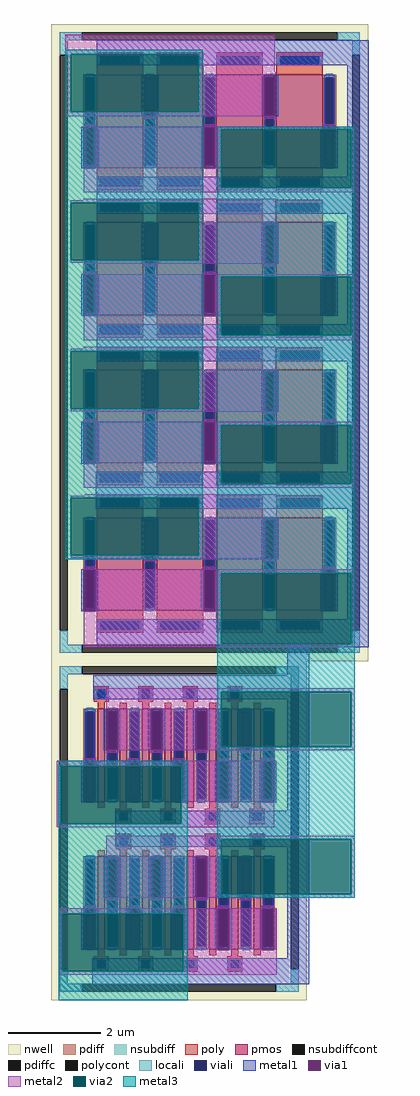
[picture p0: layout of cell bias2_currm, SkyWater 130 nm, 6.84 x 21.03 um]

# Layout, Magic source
magic
tech sky130A
magscale 1 2
<< metal1 >>
rect 236 2408 1408 2516
rect 430 2188 440 2368
rect 492 2188 502 2368
rect 946 2188 956 2368
rect 1008 2188 1018 2368
rect 170 1964 180 2144
rect 232 1964 242 2144
rect 686 1964 696 2144
rect 748 1964 758 2144
rect 1202 1964 1212 2144
rect 1264 1964 1274 2144
rect 1316 1928 1408 2408
rect 236 1768 1408 1928
rect 430 1552 440 1732
rect 492 1552 502 1732
rect 946 1552 956 1732
rect 1008 1552 1018 1732
rect 170 1328 180 1508
rect 232 1328 242 1508
rect 686 1328 696 1508
rect 748 1328 758 1508
rect 1202 1328 1212 1508
rect 1264 1328 1274 1508
rect 1316 1292 1408 1768
rect 236 1132 1408 1292
rect 430 916 440 1096
rect 492 916 502 1096
rect 946 916 956 1096
rect 1008 916 1018 1096
rect 170 692 180 872
rect 232 692 242 872
rect 686 692 696 872
rect 748 692 758 872
rect 1202 692 1212 872
rect 1264 692 1274 872
rect 1316 656 1408 1132
rect 232 496 1408 656
rect 430 280 440 460
rect 492 280 502 460
rect 946 280 956 460
rect 1008 280 1018 460
rect 170 56 180 236
rect 232 56 242 236
rect 686 56 696 236
rect 748 56 758 236
rect 1202 56 1212 236
rect 1264 56 1274 236
rect 1316 20 1408 496
rect 236 -88 1408 20
rect 1056 -220 1152 -88
rect 1316 -100 1408 -88
rect 220 -324 1152 -220
rect 266 -544 276 -364
rect 328 -544 338 -364
rect 458 -544 468 -364
rect 520 -544 530 -364
rect 650 -544 660 -364
rect 712 -544 722 -364
rect 842 -544 852 -364
rect 904 -544 914 -364
rect 170 -768 180 -588
rect 232 -768 242 -588
rect 362 -768 372 -588
rect 424 -768 434 -588
rect 554 -768 564 -588
rect 616 -768 626 -588
rect 746 -768 756 -588
rect 808 -768 818 -588
rect 938 -768 948 -588
rect 1000 -768 1010 -588
rect 1056 -804 1152 -324
rect 316 -960 1152 -804
rect 266 -1180 276 -1000
rect 328 -1180 338 -1000
rect 458 -1180 468 -1000
rect 520 -1180 530 -1000
rect 650 -1180 660 -1000
rect 712 -1180 722 -1000
rect 842 -1180 852 -1000
rect 904 -1180 914 -1000
rect 170 -1404 180 -1224
rect 232 -1404 242 -1224
rect 362 -1404 372 -1224
rect 424 -1404 434 -1224
rect 554 -1404 564 -1224
rect 616 -1404 626 -1224
rect 746 -1404 756 -1224
rect 808 -1404 818 -1224
rect 938 -1404 948 -1224
rect 1000 -1404 1010 -1224
rect 1056 -1440 1152 -960
rect 216 -1552 1152 -1440
<< via1 >>
rect 440 2188 492 2368
rect 956 2188 1008 2368
rect 180 1964 232 2144
rect 696 1964 748 2144
rect 1212 1964 1264 2144
rect 440 1552 492 1732
rect 956 1552 1008 1732
rect 180 1328 232 1508
rect 696 1328 748 1508
rect 1212 1328 1264 1508
rect 440 916 492 1096
rect 956 916 1008 1096
rect 180 692 232 872
rect 696 692 748 872
rect 1212 692 1264 872
rect 440 280 492 460
rect 956 280 1008 460
rect 180 56 232 236
rect 696 56 748 236
rect 1212 56 1264 236
rect 276 -544 328 -364
rect 468 -544 520 -364
rect 660 -544 712 -364
rect 852 -544 904 -364
rect 180 -768 232 -588
rect 372 -768 424 -588
rect 564 -768 616 -588
rect 756 -768 808 -588
rect 948 -768 1000 -588
rect 276 -1180 328 -1000
rect 468 -1180 520 -1000
rect 660 -1180 712 -1000
rect 852 -1180 904 -1000
rect 180 -1404 232 -1224
rect 372 -1404 424 -1224
rect 564 -1404 616 -1224
rect 756 -1404 808 -1224
rect 948 -1404 1000 -1224
<< metal2 >>
rect 100 2456 1004 2540
rect 100 2208 124 2456
rect 676 2378 1004 2456
rect 676 2368 1008 2378
rect 676 2208 956 2368
rect 100 2188 440 2208
rect 492 2188 956 2208
rect 440 2178 492 2188
rect 956 2178 1008 2188
rect 180 2144 232 2154
rect 696 2144 748 2154
rect 1212 2144 1264 2154
rect 232 1964 696 2144
rect 748 2132 1212 2144
rect 1264 2132 1344 2144
rect 748 1964 772 2132
rect 180 1880 772 1964
rect 1332 1880 1344 2132
rect 180 1860 1344 1880
rect 180 1826 1008 1832
rect 124 1816 1008 1826
rect 676 1732 1008 1816
rect 676 1568 956 1732
rect 124 1558 440 1568
rect 180 1552 440 1558
rect 492 1552 956 1568
rect 440 1542 492 1552
rect 956 1542 1008 1552
rect 180 1508 232 1518
rect 696 1508 748 1518
rect 1212 1508 1264 1518
rect 232 1328 696 1508
rect 748 1496 1212 1508
rect 1264 1496 1344 1508
rect 748 1328 772 1496
rect 180 1244 772 1328
rect 1332 1244 1344 1496
rect 180 1224 1344 1244
rect 180 1186 1008 1196
rect 124 1176 1008 1186
rect 676 1096 1008 1176
rect 676 928 956 1096
rect 124 918 440 928
rect 180 916 440 918
rect 492 916 956 928
rect 440 906 492 916
rect 956 906 1008 916
rect 180 872 232 882
rect 696 872 748 882
rect 1212 872 1264 882
rect 232 692 696 872
rect 748 856 1212 872
rect 1264 856 1344 872
rect 748 692 772 856
rect 180 604 772 692
rect 1332 604 1344 856
rect 180 588 1344 604
rect 184 554 1012 560
rect 124 544 1012 554
rect 676 460 1012 544
rect 676 296 956 460
rect 124 286 440 296
rect 184 280 440 286
rect 492 280 956 296
rect 1008 280 1012 460
rect 440 270 492 280
rect 956 270 1008 280
rect 180 236 232 246
rect 696 236 748 246
rect 1212 236 1264 246
rect 232 56 696 236
rect 748 220 1212 236
rect 1264 220 1348 236
rect 748 56 772 220
rect 180 -84 772 56
rect 1332 -84 1348 220
rect 180 -100 1348 -84
rect 276 -292 1348 -276
rect 276 -364 772 -292
rect 328 -544 468 -364
rect 520 -544 660 -364
rect 712 -528 772 -364
rect 1332 -528 1348 -292
rect 712 -544 852 -528
rect 904 -544 1348 -528
rect 276 -554 328 -544
rect 468 -554 520 -544
rect 660 -554 712 -544
rect 852 -554 904 -544
rect 180 -588 232 -578
rect 372 -588 424 -578
rect 564 -588 616 -578
rect 756 -588 808 -578
rect 948 -588 1000 -578
rect 64 -612 180 -588
rect 232 -612 372 -588
rect 424 -612 564 -588
rect 64 -860 80 -612
rect 616 -768 756 -588
rect 808 -768 948 -588
rect 600 -860 1000 -768
rect 64 -876 1000 -860
rect 276 -928 1348 -912
rect 276 -1000 772 -928
rect 328 -1180 468 -1000
rect 520 -1180 660 -1000
rect 712 -1164 772 -1000
rect 1332 -1164 1348 -928
rect 712 -1180 852 -1164
rect 904 -1180 1348 -1164
rect 276 -1190 328 -1180
rect 468 -1190 520 -1180
rect 660 -1190 712 -1180
rect 852 -1190 904 -1180
rect 180 -1224 232 -1214
rect 372 -1224 424 -1214
rect 564 -1224 616 -1214
rect 756 -1224 808 -1214
rect 948 -1224 1000 -1214
rect 76 -1248 180 -1224
rect 232 -1248 372 -1224
rect 424 -1248 564 -1224
rect 76 -1496 88 -1248
rect 616 -1404 756 -1224
rect 808 -1404 948 -1224
rect 1000 -1404 1012 -1224
rect 608 -1496 1012 -1404
rect 76 -1512 1012 -1496
<< via2 >>
rect 124 2368 676 2456
rect 124 2208 440 2368
rect 440 2208 492 2368
rect 492 2208 676 2368
rect 772 1964 1212 2132
rect 1212 1964 1264 2132
rect 1264 1964 1332 2132
rect 772 1880 1332 1964
rect 124 1732 676 1816
rect 124 1568 440 1732
rect 440 1568 492 1732
rect 492 1568 676 1732
rect 772 1328 1212 1496
rect 1212 1328 1264 1496
rect 1264 1328 1332 1496
rect 772 1244 1332 1328
rect 124 1096 676 1176
rect 124 928 440 1096
rect 440 928 492 1096
rect 492 928 676 1096
rect 772 692 1212 856
rect 1212 692 1264 856
rect 1264 692 1332 856
rect 772 604 1332 692
rect 124 460 676 544
rect 124 296 440 460
rect 440 296 492 460
rect 492 296 676 460
rect 772 56 1212 220
rect 1212 56 1264 220
rect 1264 56 1332 220
rect 772 -84 1332 56
rect 772 -364 1332 -292
rect 772 -528 852 -364
rect 852 -528 904 -364
rect 904 -528 1332 -364
rect 80 -768 180 -612
rect 180 -768 232 -612
rect 232 -768 372 -612
rect 372 -768 424 -612
rect 424 -768 564 -612
rect 564 -768 600 -612
rect 80 -860 600 -768
rect 772 -1000 1332 -928
rect 772 -1164 852 -1000
rect 852 -1164 904 -1000
rect 904 -1164 1332 -1000
rect 88 -1404 180 -1248
rect 180 -1404 232 -1248
rect 232 -1404 372 -1248
rect 372 -1404 424 -1248
rect 424 -1404 564 -1248
rect 564 -1404 608 -1248
rect 88 -1496 608 -1404
<< metal3 >>
rect 100 2456 692 2476
rect 100 2208 124 2456
rect 676 2208 692 2456
rect 100 1816 692 2208
rect 100 1568 124 1816
rect 676 1568 692 1816
rect 100 1176 692 1568
rect 100 928 124 1176
rect 676 928 692 1176
rect 100 544 692 928
rect 100 296 124 544
rect 676 296 692 544
rect 100 280 692 296
rect 756 2132 1348 2144
rect 756 1880 772 2132
rect 1332 1880 1348 2132
rect 756 1496 1348 1880
rect 756 1244 772 1496
rect 1332 1244 1348 1496
rect 756 856 1348 1244
rect 756 604 772 856
rect 1332 604 1348 856
rect 756 220 1348 604
rect 756 -84 772 220
rect 1332 -84 1348 220
rect 756 -292 1348 -84
rect 756 -528 772 -292
rect 1332 -528 1348 -292
rect 72 -607 628 -588
rect 70 -612 628 -607
rect 70 -860 80 -612
rect 600 -860 628 -612
rect 70 -865 628 -860
rect 72 -1248 628 -865
rect 756 -928 1348 -528
rect 756 -1164 772 -928
rect 1332 -1164 1348 -928
rect 756 -1180 1348 -1164
rect 72 -1496 88 -1248
rect 608 -1496 628 -1248
rect 72 -1620 628 -1496
use sky130_fd_pr__pfet_01v8_LXX5YL  sky130_fd_pr__pfet_01v8_LXX5YL_1
transform 1 0 723 0 1 1213
box -683 -1373 683 1373
use sky130_fd_pr__pfet_01v8_U4PLGH  sky130_fd_pr__pfet_01v8_U4PLGH_0
transform 1 0 591 0 1 -883
box -551 -737 551 737
<< end >>

# cell sky130_fd_pr__pfet_01v8_LXX5YL: kit device sky130_fd_pr__pfet_01v8, w 2 l 1 m 4 nf 4 diffcov 100 polycov 100 guard 1 glc 1 grc 1 gtc 1 gbc 1 tbcov 100 rlcov 100 topc 1 botc 1 poverlap 0 doverlap 1 lmin 0.15 wmin 0.42 compatible {sky130_fd_pr__pfet_01v8 sky130_fd_pr__pfet_01v8_lvt sky130_fd_pr__pfet_01v8_hvt sky130_fd_pr__pfet_g5v0d10v5} full_metal 1 viasrc 100 viadrn 100 viagate 100 viagb 0 viagr 0 viagl 0 viagt 0

# cell sky130_fd_pr__pfet_01v8_U4PLGH: kit device sky130_fd_pr__pfet_01v8, w 2 l 0.15 m 2 nf 8 diffcov 100 polycov 100 guard 1 glc 1 grc 1 gtc 1 gbc 1 tbcov 100 rlcov 100 topc 1 botc 1 poverlap 0 doverlap 1 lmin 0.15 wmin 0.42 compatible {sky130_fd_pr__pfet_01v8 sky130_fd_pr__pfet_01v8_lvt sky130_fd_pr__pfet_01v8_hvt sky130_fd_pr__pfet_g5v0d10v5} full_metal 1 viasrc 100 viadrn 100 viagate 100 viagb 0 viagr 0 viagl 0 viagt 0
